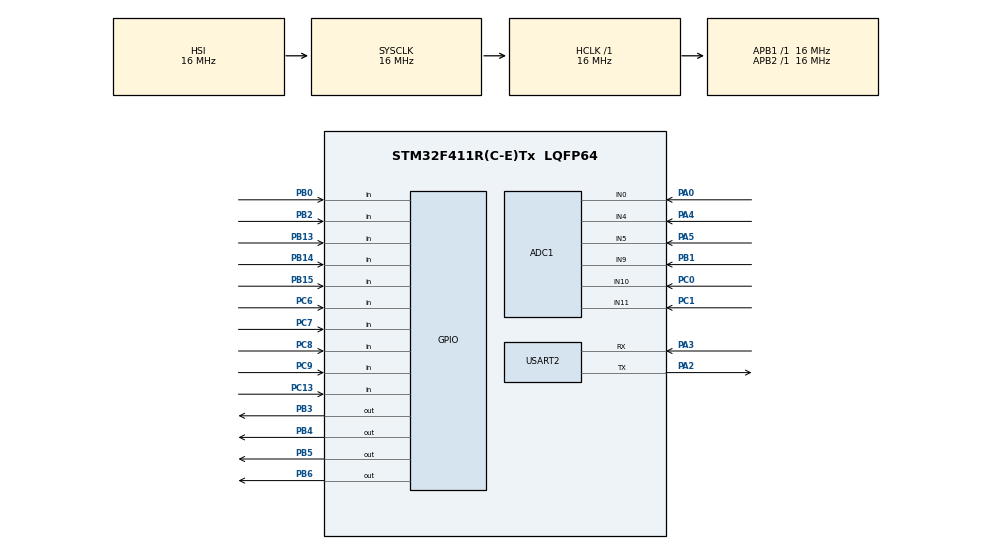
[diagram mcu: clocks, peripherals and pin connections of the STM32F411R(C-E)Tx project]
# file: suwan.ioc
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ADC1.Channel-5\#ChannelRegularConversion=ADC_CHANNEL_4
ADC1.Channel-6\#ChannelRegularConversion=ADC_CHANNEL_9
ADC1.Channel-7\#ChannelRegularConversion=ADC_CHANNEL_10
ADC1.Channel-8\#ChannelRegularConversion=ADC_CHANNEL_11
ADC1.Channel-9\#ChannelRegularConversion=ADC_CHANNEL_5
ADC1.EOCSelection=ADC_EOC_SINGLE_CONV
ADC1.NbrOfConversion=5
ADC1.NbrOfConversionFlag=1
ADC1.Rank-5\#ChannelRegularConversion=1
ADC1.Rank-6\#ChannelRegularConversion=2
ADC1.Rank-7\#ChannelRegularConversion=3
ADC1.Rank-8\#ChannelRegularConversion=4
ADC1.Rank-9\#ChannelRegularConversion=5
ADC1.SamplingTime-5\#ChannelRegularConversion=ADC_SAMPLETIME_84CYCLES
ADC1.SamplingTime-6\#ChannelRegularConversion=ADC_SAMPLETIME_84CYCLES
ADC1.SamplingTime-7\#ChannelRegularConversion=ADC_SAMPLETIME_84CYCLES
ADC1.SamplingTime-8\#ChannelRegularConversion=ADC_SAMPLETIME_84CYCLES
ADC1.SamplingTime-9\#ChannelRegularConversion=ADC_SAMPLETIME_84CYCLES
ADC1.master=1
Dma.ADC1.0.Direction=DMA_PERIPH_TO_MEMORY
Dma.ADC1.0.FIFOMode=DMA_FIFOMODE_DISABLE
Dma.ADC1.0.Instance=DMA2_Stream0
Dma.ADC1.0.MemDataAlignment=DMA_MDATAALIGN_HALFWORD
Dma.ADC1.0.MemInc=DMA_MINC_ENABLE
Dma.ADC1.0.Mode=DMA_NORMAL
Dma.ADC1.0.PeriphDataAlignment=DMA_PDATAALIGN_HALFWORD
Dma.ADC1.0.PeriphInc=DMA_PINC_DISABLE
Dma.ADC1.0.Priority=DMA_PRIORITY_LOW
Dma.Request0=ADC1
IWDG.Prescaler=IWDG_PRESCALER_64
IWDG.Reload=499
Mcu.Family=STM32F4
Mcu.Name=STM32F411R(C-E)Tx
Mcu.Package=LQFP64
NVIC.DMA2_Stream0_IRQn=true\:0\:0\:false\:false\:true\:false\:true\:true
NVIC.PriorityGroup=NVIC_PRIORITYGROUP_4
PA0-WKUP.Signal=ADCx_IN0
PA10.Signal=USART1_RX
PA13.Mode=Serial_Wire
PA13.Signal=SYS_JTMS-SWDIO
PA14.Mode=Serial_Wire
PA14.Signal=SYS_JTCK-SWCLK
PA2.Mode=Asynchronous
PA2.Signal=USART2_TX
PA3.Mode=Asynchronous
PA3.Signal=USART2_RX
PA4.Signal=ADCx_IN4
PA5.Signal=ADCx_IN5
PA9.Signal=USART1_TX
PB0.GPIO_PuPd=GPIO_PULLUP
PB0.Signal=GPIO_Input
PB1.Signal=ADCx_IN9
PB13.GPIO_PuPd=GPIO_PULLUP
PB13.Signal=GPIO_Input
PB14.GPIO_PuPd=GPIO_PULLUP
PB14.Signal=GPIO_Input
PB15.GPIO_PuPd=GPIO_PULLUP
PB15.Signal=GPIO_Input
PB2.GPIO_PuPd=GPIO_PULLUP
PB2.Signal=GPIO_Input
PB3.Signal=GPIO_Output
PB4.Signal=GPIO_Output
PB5.Signal=GPIO_Output
PB6.Signal=GPIO_Output
PC0.Signal=ADCx_IN10
PC1.Signal=ADCx_IN11
PC13-ANTI_TAMP.Signal=GPIO_Input
PC6.GPIO_PuPd=GPIO_PULLUP
PC6.Signal=GPIO_Input
PC7.GPIO_PuPd=GPIO_PULLUP
PC7.Signal=GPIO_Input
PC8.GPIO_PuPd=GPIO_PULLUP
PC8.Signal=GPIO_Input
PC9.GPIO_PuPd=GPIO_PULLUP
PC9.Signal=GPIO_Input
PH0\ -\ OSC_IN.Mode=HSE-External-Oscillator
PH0\ -\ OSC_IN.Signal=RCC_OSC_IN
PH1\ -\ OSC_OUT.Mode=HSE-External-Oscillator
PH1\ -\ OSC_OUT.Signal=RCC_OSC_OUT
ProjectManager.HeapSize=0x200
ProjectManager.StackSize=0x400
ProjectManager.TargetToolchain=STM32CubeIDE
RCC.AHBFreq_Value=16000000
RCC.APB1Freq_Value=16000000
RCC.APB2Freq_Value=16000000
RCC.CortexFreq_Value=16000000
RCC.HSE_VALUE=25000000
RCC.HSI_VALUE=16000000
RCC.LSE_VALUE=32768
RCC.SYSCLKFreq_VALUE=16000000
RCC.VCOOutputFreq_Value=192000000
SH.ADCx_IN0.0=ADC1_IN0,IN0
SH.ADCx_IN10.0=ADC1_IN10,IN10
SH.ADCx_IN11.0=ADC1_IN11,IN11
SH.ADCx_IN4.0=ADC1_IN4,IN4
SH.ADCx_IN5.0=ADC1_IN5,IN5
SH.ADCx_IN9.0=ADC1_IN9,IN9
USART2.VirtualMode=VM_ASYNC
VP_IWDG_VS_IWDG.Mode=IWDG_Activate
board=custom

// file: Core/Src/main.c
/* USER CODE BEGIN Header */
/**
  ******************************************************************************
  * @file           : main.c
  * @brief          : Main program body
  ******************************************************************************
  * @attention
  *
  * Copyright (c) 2026 STMicroelectronics.
  * All rights reserved.
  *
  * This software is licensed under terms that can be found in the LICENSE file
  * in the root directory of this software component.
  * If no LICENSE file comes with this software, it is provided AS-IS.
  *
  ******************************************************************************
  */
/* USER CODE END Header */
#include "main.h"
#include "adc.h"
#include "dma.h"
#include "iwdg.h"
#include "usart.h"
#include "gpio.h"

/* USER CODE BEGIN Includes */

#include <stdio.h>
/* USER CODE END Includes */

/* USER CODE BEGIN PTD */
#pragma pack(push, 1)   // 아래 구조체는 빈틈(패딩) 없이 꽉 채워서 저장하라는 지시
typedef struct
{
    uint8_t  header[2];      // 0xAA 0x55
    uint8_t  msg_type;       // 0x01 = ADC 데이터
    uint16_t seq_num;
    uint16_t mux_adc[16];
    uint16_t adc_ind[5];
    uint8_t  sw0_toggle;
    uint8_t  sw1_toggle;
    uint8_t  key_states;     // [추가] 키캡 버튼 7개 상태를 담을 1바이트 (비트맵)
    uint16_t crc;
} AdcPacket_t;
#pragma pack(pop)
/* USER CODE END PTD */

/* USER CODE BEGIN PD */
static uint16_t Calc_CRC16(const uint8_t *data, uint16_t length); //CRC 계산 함수 추가
/* USER CODE END PD */

/* USER CODE BEGIN PV */
uint32_t mux_adc[16] = {0};
uint32_t adc_ind[5] = {0};
uint8_t key_sw[7] = {0};
uint8_t sw0 = 0;
uint8_t sw1 = 0;
char msg[256];

uint8_t sw0_toggle = 0;
uint8_t sw1_toggle = 0;

uint8_t sw0_prev = 1;
uint8_t sw1_prev = 1;

static uint16_t seq_counter = 0;
static uint32_t crc_integrity_fail_count = 0;   // 자체검증 실패 누적 횟수
static volatile uint16_t adc_ind_dma_buf[5];  //  DMA가 값을 채워줄 버퍼
static volatile uint8_t adc_ind_dma_ready = 0; //  다 채워졌다는 신호
static uint32_t adc_dma_error_count = 0;       //  DMA 에러 발생 횟수 (재시작용)

/* USER CODE END PV */

void SystemClock_Config(void);

/* USER CODE BEGIN 0 */
void MUX_Select(uint8_t ch)
{
    HAL_GPIO_WritePin(GPIOB, GPIO_PIN_3, (ch >> 0) & 0x01);
    HAL_GPIO_WritePin(GPIOB, GPIO_PIN_4, (ch >> 1) & 0x01);
    HAL_GPIO_WritePin(GPIOB, GPIO_PIN_5, (ch >> 2) & 0x01);
    HAL_GPIO_WritePin(GPIOB, GPIO_PIN_6, (ch >> 3) & 0x01);
}

void Read_MUX_ADC(uint8_t mux_ch, uint32_t *value)
{
    ADC_ChannelConfTypeDef sConfig = {0};

    MUX_Select(mux_ch);

    for (volatile int i = 0; i < 300; i++);
    HAL_ADC_DeInit(&hadc1); //초기화

    //  mux 읽을 때는 ADC를 "1채널만 스캔"하도록 명시적으로 전환
    hadc1.Init.ScanConvMode = DISABLE;
    hadc1.Init.NbrOfConversion = 1;
    HAL_ADC_Init(&hadc1);

    sConfig.Channel = ADC_CHANNEL_0;
    sConfig.Rank = 1;
    sConfig.SamplingTime = ADC_SAMPLETIME_84CYCLES;
    sConfig.Offset = 0;

    HAL_ADC_ConfigChannel(&hadc1, &sConfig);

    HAL_ADC_Start(&hadc1);
    HAL_ADC_PollForConversion(&hadc1, HAL_MAX_DELAY);
    *value = HAL_ADC_GetValue(&hadc1);
    HAL_ADC_Stop(&hadc1);
}

void Read_ADC_Channel(uint32_t channel, uint32_t *value)
{ //지워도 되고 남겨두됨!
    ADC_ChannelConfTypeDef sConfig = {0};

    sConfig.Channel = channel;
    sConfig.Rank = 1;
    sConfig.SamplingTime = ADC_SAMPLETIME_84CYCLES;
    sConfig.Offset = 0;

    HAL_ADC_ConfigChannel(&hadc1, &sConfig);

    HAL_ADC_Start(&hadc1);
    HAL_ADC_PollForConversion(&hadc1, HAL_MAX_DELAY);
    *value = HAL_ADC_GetValue(&hadc1);
    HAL_ADC_Stop(&hadc1);
}
/* USER CODE END 0 */

int main(void)
{

  /* MCU Configuration--------------------------------------------------------*/

  /* Reset of all peripherals, Initializes the Flash interface and the Systick. */
  HAL_Init();

  /* Configure the system clock */
  SystemClock_Config();

  /* Initialize all configured peripherals */
  MX_GPIO_Init();
  MX_DMA_Init();
  MX_ADC1_Init();
  MX_USART2_UART_Init();
  MX_IWDG_Init();
  /* USER CODE BEGIN 2 */
  HAL_GPIO_WritePin(GPIOB,
       GPIO_PIN_3 | GPIO_PIN_4 | GPIO_PIN_5 | GPIO_PIN_6,
       GPIO_PIN_RESET);
  /* USER CODE END 2 */

  /* Infinite loop */
  while (1)
  {

    /* USER CODE BEGIN 3 */
	  for (uint8_t i = 0; i < 16; i++)
	         {
	             Read_MUX_ADC(i, &mux_adc[i]);
	         }

	  HAL_ADC_DeInit(&hadc1); //추가

	  // mux 읽기(1채널 모드)에서 adc_ind 읽기(4채널 스캔+DMA 모드)로 전환
	  hadc1.Init.ScanConvMode = ENABLE;
	  hadc1.Init.NbrOfConversion = 5;
	  HAL_ADC_Init(&hadc1);

	  ADC_ChannelConfTypeDef sConfig_ind = {0};

	  // 수정 — Rank 5 추가
	  sConfig_ind.Channel = ADC_CHANNEL_4;
	  sConfig_ind.Rank = 1;
	  sConfig_ind.SamplingTime = ADC_SAMPLETIME_84CYCLES;
	  HAL_ADC_ConfigChannel(&hadc1, &sConfig_ind);

	  sConfig_ind.Channel = ADC_CHANNEL_9;
	  sConfig_ind.Rank = 2;
	  HAL_ADC_ConfigChannel(&hadc1, &sConfig_ind);

	  sConfig_ind.Channel = ADC_CHANNEL_10;
	  sConfig_ind.Rank = 3;
	  HAL_ADC_ConfigChannel(&hadc1, &sConfig_ind);

	  sConfig_ind.Channel = ADC_CHANNEL_11;
	  sConfig_ind.Rank = 4;
	  HAL_ADC_ConfigChannel(&hadc1, &sConfig_ind);

	  sConfig_ind.Channel = ADC_CHANNEL_5;   // ← 새로 추가 (PA5)
	  sConfig_ind.Rank = 5;
	  HAL_ADC_ConfigChannel(&hadc1, &sConfig_ind);

	  	  // [수정] DMA로 4채널 한 번에 읽기
		  adc_ind_dma_ready = 0;
		  HAL_ADC_Start_DMA(&hadc1, (uint32_t*)adc_ind_dma_buf, 5);

	  	  uint32_t dma_wait_start = HAL_GetTick();
	  	  while (!adc_ind_dma_ready)
	  	  {
	  		  if (HAL_GetTick() - dma_wait_start > 10)
	  	  	  {
	  			  adc_dma_error_count++;
	  	  	      break;
	  	  	  }
	  	  }

	  	// Rank 순서(PA4, PB1, PC0, PC1)대로 채워진 걸 기존 배열 순서(PB1, PC0, PC1, PA4)에 맞게 옮김
	  	  	  	  adc_ind[0] = adc_ind_dma_buf[1];  // PB1
	  		  	  adc_ind[1] = adc_ind_dma_buf[2];  // PC0
	  		  	  adc_ind[2] = adc_ind_dma_buf[3];  // PC1
	  		  	  adc_ind[3] = adc_ind_dma_buf[0];  // PA4
	  		  	  adc_ind[4] = adc_ind_dma_buf[4];  // PA5 (상하이동)  ← 새로 추가

	  		  	  // DMA 완전히 종료 — 다음 루프의 mux 폴링 읽기가 DMA 잔여 상태에 영향받지 않도록
	  		  	  HAL_ADC_Stop_DMA(&hadc1);

	  sw0 = (HAL_GPIO_ReadPin(GPIOB, GPIO_PIN_2) == GPIO_PIN_SET);
	  sw1 = (HAL_GPIO_ReadPin(GPIOB, GPIO_PIN_0) == GPIO_PIN_SET);

	  /* PB2 */
	  if (sw0_prev == 1 && sw0 == 0)
	  {
	      sw0_toggle ^= 1;
	  }
	  sw0_prev = sw0;

	  /* PB10 */
	  if (sw1_prev == 1 && sw1 == 0)
	  {
	      sw1_toggle ^= 1;
	  }
	  sw1_prev = sw1;

	  key_sw[0] = HAL_GPIO_ReadPin(GPIOB, GPIO_PIN_13);  // 1번 버튼
	  key_sw[1] = HAL_GPIO_ReadPin(GPIOB, GPIO_PIN_14);  // 2번 버튼
	  key_sw[2] = HAL_GPIO_ReadPin(GPIOB, GPIO_PIN_15);  // 3번 버튼
	  key_sw[3] = HAL_GPIO_ReadPin(GPIOC, GPIO_PIN_6);   // 4번 버튼
	  key_sw[4] = HAL_GPIO_ReadPin(GPIOC, GPIO_PIN_7);   // 5번 버튼
	  key_sw[5] = (HAL_GPIO_ReadPin(GPIOC, GPIO_PIN_8) == GPIO_PIN_SET)
	              ? GPIO_PIN_RESET : GPIO_PIN_SET;   // 6번 버튼
	  key_sw[6] = (HAL_GPIO_ReadPin(GPIOC, GPIO_PIN_9) == GPIO_PIN_SET) ? GPIO_PIN_RESET : GPIO_PIN_SET;

	  AdcPacket_t tx_packet;

	  tx_packet.header[0] = 0xAA;
	  tx_packet.header[1] = 0x55;
	  tx_packet.msg_type  = 0x01;
	  tx_packet.seq_num   = seq_counter++;

	  for (int i = 0; i < 16; i++)
	  {
		  tx_packet.mux_adc[i] = (uint16_t)mux_adc[i];
	  }
	  for (int i = 0; i < 5; i++)
	  {
		  tx_packet.adc_ind[i] = (uint16_t)adc_ind[i];
	  }
	  tx_packet.sw0_toggle = sw0_toggle;
	  tx_packet.sw1_toggle = sw1_toggle;

	  // 버튼이 풀다운 회로일 경우 (누르면 HIGH)
	         tx_packet.key_states = 0;
	         for(int i = 0; i < 7; i++) {
	             if(key_sw[i] == GPIO_PIN_SET) {  // RESET을 SET으로 변경!
	                 tx_packet.key_states |= (1 << i);
	             }
	         }

	  tx_packet.crc = Calc_CRC16((uint8_t*)&tx_packet, sizeof(AdcPacket_t) - sizeof(uint16_t));

	  // ===== 자체 검증: 방금 계산한 CRC가 지금 패킷 내용과 실제로 맞는지 재확인 =====
	  uint16_t self_check_crc = Calc_CRC16((uint8_t*)&tx_packet, sizeof(AdcPacket_t) - sizeof(uint16_t));

	  if (self_check_crc == tx_packet.crc)
	  {
		  // 검증 통과 → 정상 전송
	  	  HAL_UART_Transmit(
	  			  &huart2,
	  	  	      (uint8_t*)&tx_packet,
	  	  	      sizeof(AdcPacket_t),
				  HAL_MAX_DELAY
	  	  	  );
	  }
	  else
	  {
		  // 검증 실패 → 이번 패킷은 보내지 않고 건너뜀 (손상된 데이터를 내보내지 않음)
	  	  crc_integrity_fail_count++;
	  }
	  // =============================================

	  HAL_Delay(10);

	  HAL_IWDG_Refresh(&hiwdg);   // ← 이 줄 새로 추가  IWDG
  }
  /* USER CODE END 3 */
}

void SystemClock_Config(void)
{
  RCC_OscInitTypeDef RCC_OscInitStruct = {0};
  RCC_ClkInitTypeDef RCC_ClkInitStruct = {0};

  /** Configure the main internal regulator output voltage
  */
  __HAL_RCC_PWR_CLK_ENABLE();
  __HAL_PWR_VOLTAGESCALING_CONFIG(PWR_REGULATOR_VOLTAGE_SCALE1);

  /** Initializes the RCC Oscillators according to the specified parameters
  * in the RCC_OscInitTypeDef structure.
  */
  RCC_OscInitStruct.OscillatorType = RCC_OSCILLATORTYPE_HSI|RCC_OSCILLATORTYPE_LSI;
  RCC_OscInitStruct.HSIState = RCC_HSI_ON;
  RCC_OscInitStruct.HSICalibrationValue = RCC_HSICALIBRATION_DEFAULT;
  RCC_OscInitStruct.LSIState = RCC_LSI_ON;
  RCC_OscInitStruct.PLL.PLLState = RCC_PLL_NONE;
  if (HAL_RCC_OscConfig(&RCC_OscInitStruct) != HAL_OK)
  {
    Error_Handler();
  }

  /** Initializes the CPU, AHB and APB buses clocks
  */
  RCC_ClkInitStruct.ClockType = RCC_CLOCKTYPE_HCLK|RCC_CLOCKTYPE_SYSCLK
                              |RCC_CLOCKTYPE_PCLK1|RCC_CLOCKTYPE_PCLK2;
  RCC_ClkInitStruct.SYSCLKSource = RCC_SYSCLKSOURCE_HSI;
  RCC_ClkInitStruct.AHBCLKDivider = RCC_SYSCLK_DIV1;
  RCC_ClkInitStruct.APB1CLKDivider = RCC_HCLK_DIV1;
  RCC_ClkInitStruct.APB2CLKDivider = RCC_HCLK_DIV1;

  if (HAL_RCC_ClockConfig(&RCC_ClkInitStruct, FLASH_LATENCY_0) != HAL_OK)
  {
    Error_Handler();
  }
}

/* USER CODE BEGIN 4 */
static uint16_t Calc_CRC16(const uint8_t *data, uint16_t length)
{
    uint16_t crc = 0xFFFF; //파이썬에서 만든 calc_crc16_ccitt()랑 완전히 똑같은 계산법
    for (uint16_t i = 0; i < length; i++)
    {
        crc ^= (uint16_t)data[i] << 8;
        for (uint8_t bit = 0; bit < 8; bit++)
        {
            if (crc & 0x8000)
                crc = (crc << 1) ^ 0x1021;
            else
                crc = (crc << 1);
        }
    }
    return crc;
}
//  DMA로 ADC 변환이 끝났을 때 자동으로 호출되는 함수
void HAL_ADC_ConvCpltCallback(ADC_HandleTypeDef *hadc)
{
    if (hadc->Instance == ADC1)
    {
        adc_ind_dma_ready = 1;   // 다 됐다는 신호만 켜줌
    }
}

//  DMA 에러 발생 시 자동으로 호출되는 함수
void HAL_ADC_ErrorCallback(ADC_HandleTypeDef *hadc)
{
    if (hadc->Instance == ADC1)
    {
        adc_dma_error_count++;
        HAL_ADC_Stop_DMA(hadc);
        HAL_ADC_Start_DMA(hadc, (uint32_t*)adc_ind_dma_buf, 5);  //  에러 시 재시작
    }
}
/* USER CODE END 4 */

void Error_Handler(void)
{
  __disable_irq();
  while (1)
  {
  }
}
